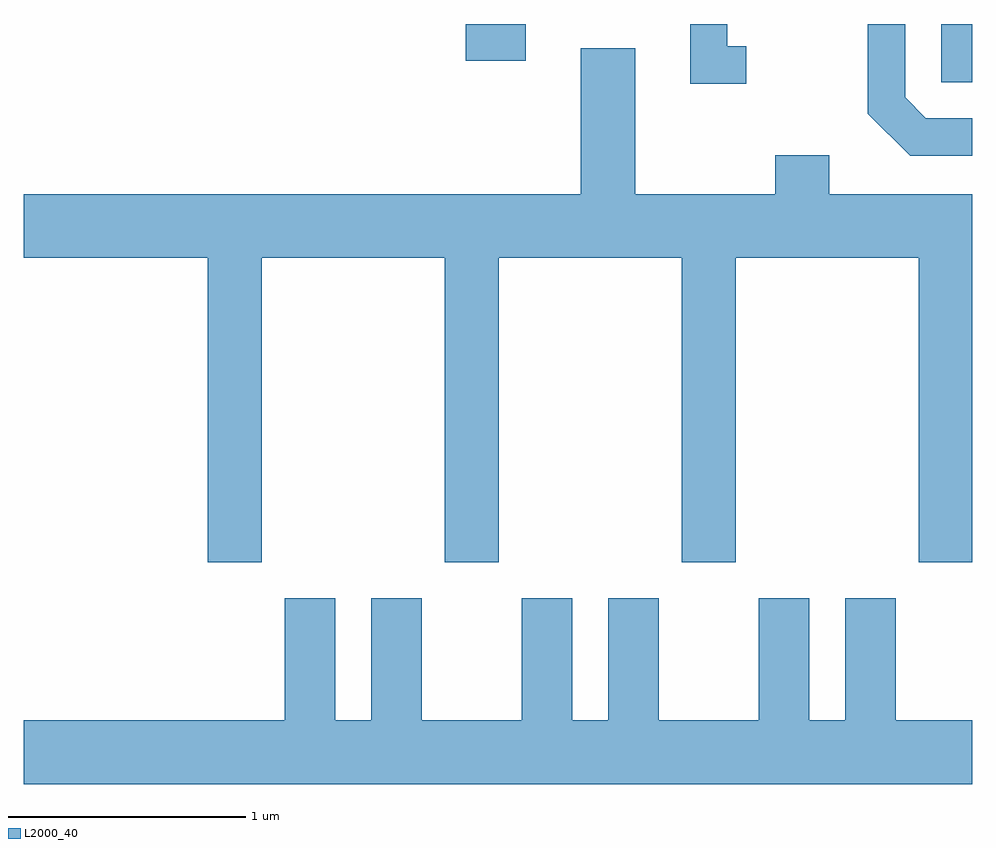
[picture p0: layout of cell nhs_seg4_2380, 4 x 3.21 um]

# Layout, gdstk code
import gdstk
lib = gdstk.Library(unit=1e-6, precision=1e-09)
def R(c, l, rs):  # rectangles x0, y0, x1, y1
    for r in rs: c.add(gdstk.rectangle(r[:2], r[2:], *l))
def P(c, l, *ps):  # polygons
    for p in ps: c.add(gdstk.Polygon(p, *l))
L2000_40 = (2000, 40)

nhs_seg4_2380 = lib.new_cell('nhs_seg4_2380')
R(nhs_seg4_2380, L2000_40, [(259.481,1257.736,259.611,1257.982), (257.476,1257.826,257.729,1257.982)])
P(nhs_seg4_2380, L2000_40, [(258.658,1257.889),(258.579,1257.889),(258.579,1257.982),(258.421,1257.982),(258.421,1257.731),(258.658,1257.731)],
  [(259.611,1257.584),(259.416,1257.584),(259.329,1257.672),(259.329,1257.982),(259.171,1257.982),(259.171,1257.604),(259.349,1257.426),(259.611,1257.426)],
  [(256.614,1256.996),(257.386,1256.996),(257.386,1255.711),(257.614,1255.711),(257.614,1256.996),(258.386,1256.996),(258.386,1255.711),(258.614,1255.711),(258.614,1256.996),(259.386,1256.996),(259.386,1255.711),(259.611,1255.711),(259.611,1257.264),(259.009,1257.264),(259.009,1257.429),(258.781,1257.429),(258.781,1257.264),(258.189,1257.264),(258.189,1257.879),(257.961,1257.879),(257.961,1257.264),(255.611,1257.264),(255.611,1256.996),(256.386,1256.996),(256.386,1255.711),(256.614,1255.711)],
  [(259.611,1255.044),(259.289,1255.044),(259.289,1255.559),(259.076,1255.559),(259.076,1255.044),(258.924,1255.044),(258.924,1255.559),(258.711,1255.559),(258.711,1255.044),(258.289,1255.044),(258.289,1255.559),(258.076,1255.559),(258.076,1255.044),(257.924,1255.044),(257.924,1255.559),(257.711,1255.559),(257.711,1255.044),(257.289,1255.044),(257.289,1255.559),(257.076,1255.559),(257.076,1255.044),(256.924,1255.044),(256.924,1255.559),(256.711,1255.559),(256.711,1255.044),(255.611,1255.044),(255.611,1254.776),(259.611,1254.776)])

lib.write_gds('nhs_seg4_2380.gds')
